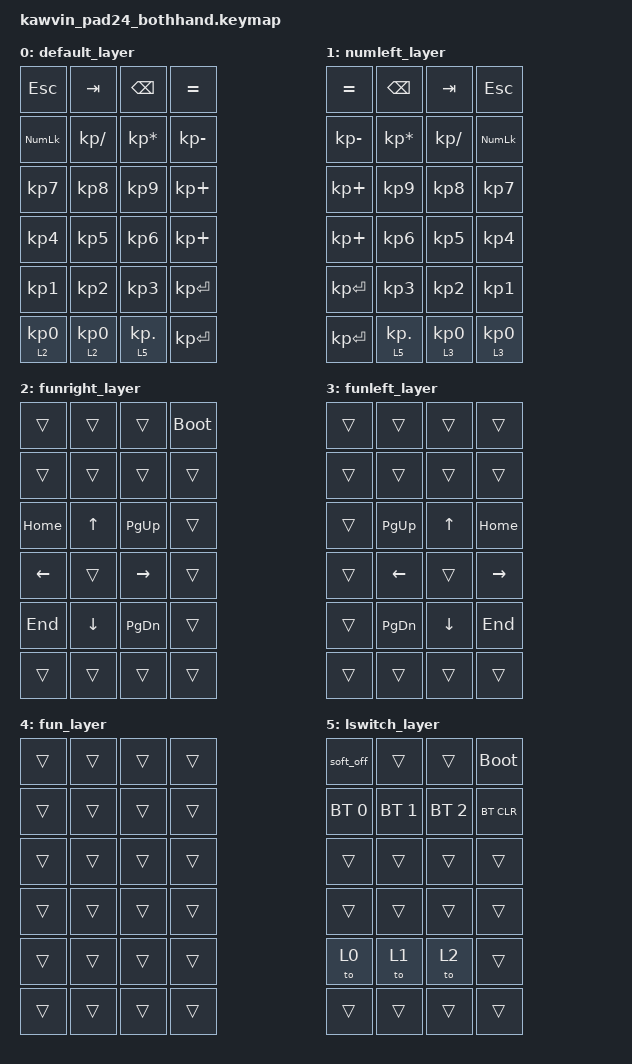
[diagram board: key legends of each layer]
/*
 * Copyright (c) 2021 The ZMK Contributors
 *
 * SPDX-License-Identifier: MIT
 */

#include <behaviors.dtsi>
#include <dt-bindings/zmk/bt.h>
#include <dt-bindings/zmk/keys.h>

/*
&led_strip {
    chain-length = <24>;
    // chain-length = <35>; // Uncomment if using both per-key and underglow LEDs
    // chain-length = <29>; // Uncomment if using only per-key LEDs.
};
*/

#define DEFAULT 0
#define NUMLEFT 1
#define FUNRIGHT 2
#define FUNLEFT 3
#define FUN 4
#define LSWITCH 5

/ {
    keymap {
        compatible = "zmk,keymap";

        default_layer {
            //  ---------------------------------------------------------------------------------
            //  |ESC        |TAB        |BSPC        |EQUAL|
            //  |NLCK       |SLASH      |MULTIPLY    |MINUS|
            //  |7          |8          |9           |PLUS |
            //  |4          |5          |6           |PLUS |
            //  |1          |2          |3           |ENTER|
            //  |&lt 2 KP_N0|&lt 2 KP_N0|&lt 5 KP_DOT|ENTER|

            bindings = <
&kp ESC      &kp TAB       &kp BSPC         &kp EQUAL
&kp KP_NLCK  &kp KP_SLASH  &kp KP_MULTIPLY  &kp KP_MINUS
&kp KP_N7    &kp KP_N8     &kp KP_N9        &kp KP_PLUS
&kp KP_N4    &kp KP_N5     &kp KP_N6        &kp KP_PLUS
&kp KP_N1    &kp KP_N2     &kp KP_N3        &kp KP_ENTER
&lt 2 KP_N0  &lt 2 KP_N0   &lt 5 KP_DOT     &kp KP_ENTER
            >;
        };

        numleft_layer {
            //  ---------------------------------------------------------------------------------
            //  |EQUAL|BSPC        |TAB        |ESC        |
            //  |MINUS|MULTIPLY    |SLASH      |NLCK       |
            //  |PLUS |9           |8          |7          |
            //  |PLUS |6           |5          |4          |
            //  |ENTER|3           |2          |1          |
            //  |ENTER|&lt 5 KP_DOT|&lt 3 KP_N0|&lt 3 KP_N0|

            bindings = <
&kp EQUAL     &kp BSPC         &kp TAB       &kp ESC
&kp KP_MINUS  &kp KP_MULTIPLY  &kp KP_SLASH  &kp KP_NLCK
&kp KP_PLUS   &kp KP_N9        &kp KP_N8     &kp KP_N7
&kp KP_PLUS   &kp KP_N6        &kp KP_N5     &kp KP_N4
&kp KP_ENTER  &kp KP_N3        &kp KP_N2     &kp KP_N1
&kp KP_ENTER  &lt 5 KP_DOT     &lt 3 KP_N0   &lt 3 KP_N0
            >;
        };

        funright_layer {
            //  ---------------------------------------------------------------------------------
            //  |    |    |     |    |
            //  |    |    |     |    |
            //  |HOME|UP  |PG_UP|    |
            //  |LEFT|    |RIGHT|    |
            //  |END |DOWN|PG_DN|    |
            //  |    |    |     |    |

            bindings = <
&trans    &trans    &trans     &bootloader
&trans    &trans    &trans     &trans
&kp HOME  &kp UP    &kp PG_UP  &trans
&kp LEFT  &trans    &kp RIGHT  &trans
&kp END   &kp DOWN  &kp PG_DN  &trans
&trans    &trans    &trans     &trans
            >;
        };

        funleft_layer {
            //  ---------------------------------------------------------------------------------
            //  |    |     |    |     |
            //  |    |     |    |     |
            //  |    |PG_UP|UP  |HOME |
            //  |    |LEFT |    |RIGHT|
            //  |    |PG_DN|DOWN|END  |
            //  |    |     |    |     |

            bindings = <
&trans  &trans     &trans    &trans
&trans  &trans     &trans    &trans
&trans  &kp PG_UP  &kp UP    &kp HOME
&trans  &kp LEFT   &trans    &kp RIGHT
&trans  &kp PG_DN  &kp DOWN  &kp END
&trans  &trans     &trans    &trans
            >;
        };

        fun_layer {
            //  ---------------------------------------------------------------------------------
            //  |    |    |    |    |
            //  |    |    |    |    |
            //  |    |    |    |    |
            //  |    |    |    |    |
            //  |    |    |    |    |
            //  |    |    |    |    |

            bindings = <
&trans  &trans  &trans  &trans
&trans  &trans  &trans  &trans
&trans  &trans  &trans  &trans
&trans  &trans  &trans  &trans
&trans  &trans  &trans  &trans
&trans  &trans  &trans  &trans
            >;
        };

        lswitch_layer {
            //  ---------------------------------------------------------------------------------
            //  |&soft_off|     |    |    |
            //  |         |     |    |    |
            //  |         |     |    |    |
            //  |         |     |    |    |
            //  |&to 1    |&to 0|    |    |
            //  |         |     |    |    |

            bindings = <
&soft_off     &trans        &trans        &bootloader
&bt BT_SEL 0  &bt BT_SEL 1  &bt BT_SEL 2  &bt BT_CLR
&trans        &trans        &trans        &trans
&trans        &trans        &trans        &trans
&to 0         &to 1         &to 2         &trans
&trans        &trans        &trans        &trans
            >;
        };
    };
};
